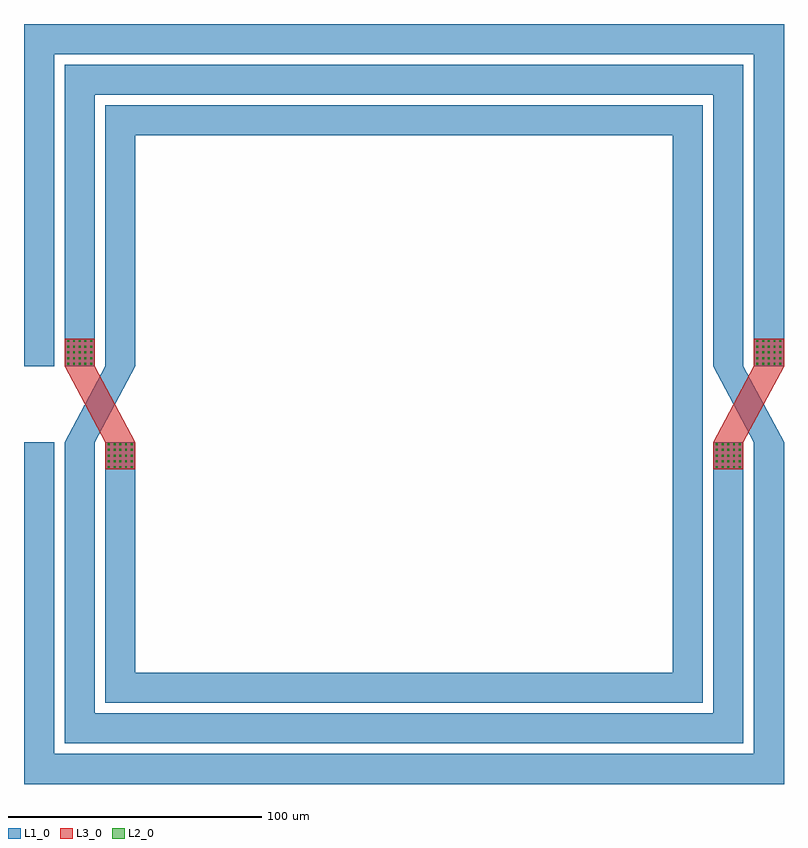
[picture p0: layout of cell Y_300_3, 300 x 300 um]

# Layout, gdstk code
import gdstk
lib = gdstk.Library(unit=1e-6, precision=1e-09)
def R(c, l, rs):  # rectangles x0, y0, x1, y1
    for r in rs: c.add(gdstk.rectangle(r[:2], r[2:], *l))
def A(c, l, x, y, w, h, nx, ny, dx, dy):  # array of equal rectangles
    R(c, l, [(x+i*dx, y+j*dy, x+i*dx+w, y+j*dy+h) for i in range(nx) for j in range(ny)])
def P(c, l, *ps):  # polygons
    for p in ps: c.add(gdstk.Polygon(p, *l))
L1_0 = (1, 0)
L2_0 = (2, 0)
L3_0 = (3, 0)

y_300_3 = lib.new_cell('Y_300_3')
R(y_300_3, L1_0, [(132,239.245,144,249.995), (372,239.245,384,249.995), (356,250,368,265), (356,265,368,280), (116,279.995,128,290.745), (388,279.995,400,290.745)])
P(y_300_3, L1_0, [(100,280),(100,415),(112,403),(112,280)],
  [(112,403),(100,415),(400,415),(388,403)],
  [(388,280),(388,403),(400,415),(400,280)],
  [(384,131),(372,143),(372,250),(384,250)],
  [(116,131),(128,143),(372,143),(384,131)],
  [(116,131),(116,250),(128,250),(128,143)],
  [(116,250),(132,280),(144,280),(128,250)],
  [(132,280),(132,383),(144,371),(144,280)],
  [(144,371),(132,383),(368,383),(356,371)],
  [(356,280),(356,371),(368,383),(368,280)],
  [(368,147),(356,159),(356,250),(368,250)],
  [(132,147),(144,159),(356,159),(368,147)],
  [(132,147),(132,250),(144,250),(144,159)],
  [(116,280),(116,399),(128,387),(128,280)],
  [(128,387),(116,399),(384,399),(372,387)],
  [(372,280),(372,387),(384,399),(384,280)],
  [(388,250),(372,280),(384,280),(400,250)],
  [(400,115),(388,127),(388,250),(400,250)],
  [(100,115),(112,127),(388,127),(400,115)],
  [(100,115),(100,250),(112,250),(112,127)])
A(y_300_3, L2_0, 133.12, 239.75, 0.75, 0.75, 5, 5, 2.25, 2.25)
A(y_300_3, L2_0, 373.12, 239.75, 0.75, 0.75, 5, 5, 2.25, 2.25)
A(y_300_3, L2_0, 117.12, 280.5, 0.75, 0.75, 5, 5, 2.25, 2.25)
A(y_300_3, L2_0, 389.12, 280.5, 0.75, 0.75, 5, 5, 2.25, 2.25)
R(y_300_3, L3_0, [(132,239.245,144,249.995), (372,239.245,384,249.995), (116,279.995,128,290.745), (388,279.995,400,290.745)])
P(y_300_3, L3_0, [(372,250),(388,280),(400,280),(384,250)],
  [(132,250),(116,280),(128,280),(144,250)])

lib.write_gds('Y_300_3.gds')
